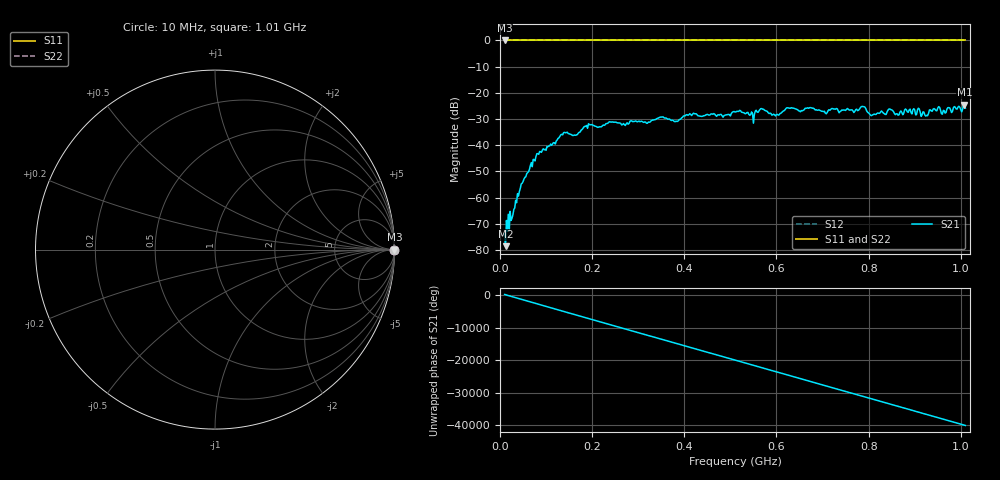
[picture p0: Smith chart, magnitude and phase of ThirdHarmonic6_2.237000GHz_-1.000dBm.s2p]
! 8/17/2025 2:35:33 AM
! C:\ANRITSUVNA\TEMP\TEMP.S2P
! CHANNEL.1
! TR.MEASUREMENT
! RAW.DATA
! RF.CORRECTION.OFF
! AVERAGING.OFF
! IF.BANDWIDTH: 5KHZ
! SWEEPTYPE:  FREQ.SWEEP(Linear)
! Reference Plane Port Info
! PORT:  PORT1  PORT2
! DISTANCE:  0  m  0  m
! TIME:  0  s  0  s
! PHASE.OFFSET:  0  deg.  0  deg.
! LOSS:  0  dB  0  dB
! REF.LOSS:  0  dB  0  dB
! REF.FREQ:  0  Hz  0  Hz
! Power Info
! POWER:  -20  dBm  -20  dBm
! EFF.POWER:  -20  dBm  -20  dBm
! SOURCE.ATTEN:  0  dB  0  dB
! TEST.ATTEN:  0  dB  0  dB
# GHZ S RI R 50.0
! FREQ.GHZ  S11RE  S11IM  S21RE  S21IM  S12RE  S12IM  S22RE  S22IM
!; PortSelection: Port_12
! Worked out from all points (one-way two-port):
!   501 points, 10 MHz to 1.01 GHz, reference 50 ohm
!   highest |S21| = -24.58 dB at 1.008 GHz (marker M1); lowest = -78.6 dB at 12 MHz (marker M2)
!   lowest |S11| = 0.0 dB at 10 MHz (marker M3)
!   |S11| at or under -10 dB: nowhere
!   |S22| runs from 0.0 to 0.0 dB; largest |S21 - S12| = 1.1
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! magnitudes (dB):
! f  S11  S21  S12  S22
! 10 MHz  0.0  -73.9  0.0  0.0
! 12 MHz  0.0  -78.6  0.0  0.0
! 48 MHz  0.0  -54.6  0.0  0.0
! 82 MHz  0.0  -43.2  0.0  0.0
! 136 MHz  0.0  -36.0  0.0  0.0
! 178 MHz  0.0  -34.0  0.0  0.0
! 344 MHz  0.0  -29.6  0.0  0.0
! 382 MHz  0.0  -30.8  0.0  0.0
! 408 MHz  0.0  -28.6  0.0  0.0
! 510 MHz  0.0  -27.3  0.0  0.0
! 546 MHz  0.0  -27.3  0.0  0.0
! 568 MHz  0.0  -26.0  0.0  0.0
! 602 MHz  0.0  -28.2  0.0  0.0
! 624 MHz  0.0  -25.7  0.0  0.0
! 678 MHz  0.0  -25.9  0.0  0.0
! 706 MHz  0.0  -27.7  0.0  0.0
! 788 MHz  0.0  -25.3  0.0  0.0
! 808 MHz  0.0  -28.5  0.0  0.0
! 844 MHz  0.0  -26.2  0.0  0.0
! 926 MHz  0.0  -28.6  0.0  0.0
! 1.008 GHz  0.0  -24.6  0.0  0.0
! 1.01 GHz  0.0  -25.9  0.0  0.0
